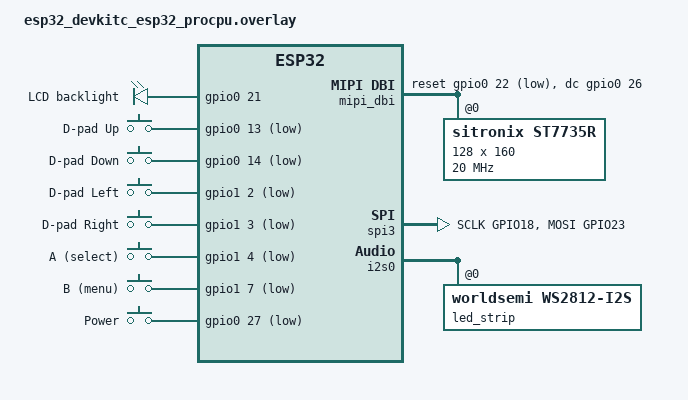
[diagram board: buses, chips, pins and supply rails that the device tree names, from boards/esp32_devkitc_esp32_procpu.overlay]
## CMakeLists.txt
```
# SPDX-License-Identifier: Apache-2.0

cmake_minimum_required(VERSION 3.28.0)

find_package(Zephyr REQUIRED HINTS $ENV{ZEPHYR_BASE})
project(KinBox)

FILE(GLOB app_sources
    src/*.c
    kindrals/*.c
    actions/*.c
    battle/*.c
    storage/*.c
    net/*.c
    ui/*.c
    sprites/*.c
)

target_sources(app PRIVATE ${app_sources})

# ESP32-S3 deep-sleep support missing from the Zephyr HAL source list
if(CONFIG_KINBOX_DEEP_SLEEP AND NOT CONFIG_PM AND NOT CONFIG_POWEROFF)
    set(ESP_IDF_COMPONENTS
        "${ZEPHYR_BASE}/../modules/hal/espressif/components"
    )

    target_sources(app PRIVATE
        ${ESP_IDF_COMPONENTS}/esp_hw_support/sleep_gpio.c
        ${ESP_IDF_COMPONENTS}/esp_hw_support/sleep_event.c
        ${ESP_IDF_COMPONENTS}/esp_hw_support/sleep_console.c
        ${ESP_IDF_COMPONENTS}/esp_hw_support/sleep_uart.c
        ${ESP_IDF_COMPONENTS}/esp_hw_support/clk_utils.c
        ${ESP_IDF_COMPONENTS}/esp_driver_gpio/src/gpio.c
        ${ESP_IDF_COMPONENTS}/esp_hw_support/sleep_modem.c
        ${ESP_IDF_COMPONENTS}/esp_hal_touch_sens/touch_sens_hal.c
        ${ESP_IDF_COMPONENTS}/esp_hal_touch_sens/esp32s3/touch_sensor_legacy_hal.c
        ${ESP_IDF_COMPONENTS}/esp_hw_support/lowpower/port/esp32s3/sleep_cpu.c
        ${ESP_IDF_COMPONENTS}/esp_hal_pmu/esp32s3/rtc_cntl_hal.c
    )
endif()

target_include_directories(app PRIVATE
    ${CMAKE_CURRENT_SOURCE_DIR}/includes
)
```

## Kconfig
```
# SPDX-License-Identifier: Apache-2.0

menu "KinBox"

config KINBOX_TICK_SECONDS
	int "Seconds between care ticks (hunger, thirst, ...)"
	default 5
	help
	  5 is a fast "demo" pace. A real handheld wants something like 60-300.

config KINBOX_SAVE_INTERVAL_S
	int "Seconds between routine saves to flash"
	default 300
	help
	  Only dirty data is written, and only after the first-time setup.
	  Important events (naming, battle end, trade, gift, power-off) save at once.

config KINBOX_OFFLINE_SECS_PER_TICK
	int "Offline catch-up: seconds of power-off that count as one care tick"
	default 600

config KINBOX_OFFLINE_MAX_TICKS
	int "Offline catch-up: maximum ticks applied on boot"
	default 48
	help
	  48 ticks x 10 min = at most 8 hours of "time passed" after a long power-off.

config KINBOX_FALLBACK_OFFLINE_SECS
	int "Without an RTC: assumed seconds spent powered off"
	default 0

config KINBOX_USE_DS3231
	bool "Read the time from a DS3231 RTC (I2C 0x68)"
	select I2C
	help
	  Also uncomment the i2c0 block in boards/esp32s3_devkitc_procpu.overlay.

config KINBOX_BLE_RSSI_NEAR
	int "Alert when another KinBox is stronger than this RSSI (dBm)"
	default -80
	range -100 -40
	help
	  Roughly: -60 = 1-2 m, -70 = ~5 m, -80 = ~10 m open air. Bodies and pockets
	  absorb 10-15 dB, so -80 is a reasonable "people passing on the street".

config KINBOX_BLE_SCAN_INTERVAL_MS
	int "BLE scan interval (ms)"
	default 800

config KINBOX_BLE_SCAN_WINDOW_MS
	int "BLE scan window (ms)"
	default 200
	help
	  window/interval = scan duty cycle (battery vs. how fast people are noticed).

config KINBOX_STEPS_SIM
	bool "Simulate steps (menu: Walk ON/off)"
	default y
	help
	  Turn off once a real pedometer is wired into steps_hw_total().

config KINBOX_SCREEN_TIMEOUT_S
	int "Screen off after this many idle seconds"
	default 30

config KINBOX_LONG_PRESS_MS
	int "Power key hold time for power-off (ms)"
	default 1500

config KINBOX_DEEP_SLEEP
	bool "Power-off = ESP32-S3 deep sleep, power key wakes it"
	default y
	help
	  If the ESP HAL headers are not available in your Zephyr tree, disable this
	  to get a "soft off" (screen off, BLE off, next key press reboots).

endmenu

source "Kconfig.zephyr"
```

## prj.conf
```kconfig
CONFIG_LOG=y
CONFIG_PRINTK=y

# ---- kept from the original project (WS2812 + flash size) ----
CONFIG_LED_STRIP=y
CONFIG_LED_STRIP_LOG_LEVEL_DBG=y
CONFIG_ESPTOOLPY_FLASHSIZE_16MB=y
CONFIG_ESPTOOLPY_HEADER_FLASHSIZE_UPDATE=y

# ---- randomness (hatching, battle seeds). The weak TEST generator is gone. ----
CONFIG_ENTROPY_GENERATOR=y

# ---- buttons (gpio-keys -> input subsystem) ----
CONFIG_GPIO=y
CONFIG_INPUT=y
CONFIG_INPUT_GPIO_KEYS=y

# ---- display: 1.8" ST7735 over SPI + LVGL ----
CONFIG_SPI=y
CONFIG_MIPI_DBI=y
CONFIG_DISPLAY=y
CONFIG_LVGL=y
CONFIG_LV_Z_MEM_POOL_SIZE=49152
CONFIG_LV_Z_VDB_SIZE=25
CONFIG_LV_FONT_UNSCII_8=y
CONFIG_LV_FONT_DEFAULT_UNSCII_8=y

# ---- storage: NVS on the storage partition ----
CONFIG_FLASH=y
CONFIG_FLASH_MAP=y
CONFIG_FLASH_PAGE_LAYOUT=y
CONFIG_NVS=y
CONFIG_REBOOT=y

# ---- BLE: advertise + scan at once, one connection ----
CONFIG_BT=y
CONFIG_BT_DEVICE_NAME="KinBox"
CONFIG_BT_PERIPHERAL=y
CONFIG_BT_CENTRAL=y
CONFIG_BT_OBSERVER=y
CONFIG_BT_BROADCASTER=y
CONFIG_BT_GATT_CLIENT=y
CONFIG_BT_MAX_CONN=1
CONFIG_BT_BUF_ACL_TX_COUNT=12

# ---- stacks ----
CONFIG_MAIN_STACK_SIZE=8192
CONFIG_HEAP_MEM_POOL_SIZE=29696
CONFIG_SYSTEM_WORKQUEUE_STACK_SIZE=2048
```

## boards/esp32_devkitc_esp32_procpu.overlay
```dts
/*
 * KinBox - ESP32-WROOM-32 / ESP32 DevKitC
 * Zephyr board: esp32_devkitc/esp32/procpu
 *
 * LCD: KMR-1.8 SPI TFT, 128x160
 * LED: WS2812 via I2S0
 * Buttons: active-low, connected to GND
 */

#include <zephyr/dt-bindings/led/led.h>
#include <zephyr/dt-bindings/gpio/gpio.h>
#include <zephyr/dt-bindings/input/input-event-codes.h>
#include <zephyr/dt-bindings/mipi_dbi/mipi_dbi.h>
#include <zephyr/dt-bindings/pinctrl/esp32-pinctrl.h>

/ {
    aliases {
        led-strip = &led_strip;
        lcd-backlight = &lcd_bl;
    };

    chosen {
        zephyr,display = &st7735r;
    };

    /*
     * LCD backlight control.
     * GPIO21 drives an external transistor circuit.
     */
    leds {
        compatible = "gpio-leds";

        lcd_bl: lcd_bl {
            gpios = <&gpio0 21 GPIO_ACTIVE_HIGH>;
            label = "LCD backlight";
        };
    };

    /*
     * KMR-1.8 SPI TFT
     *
     * SCL  -> GPIO18
     * SDA  -> GPIO23
     * CS   -> GPIO19
     * A0   -> GPIO26
     * RST  -> GPIO22
     */
    mipi_dbi {
        compatible = "zephyr,mipi-dbi-spi";
        spi-dev = <&spi3>;
        dc-gpios = <&gpio0 26 GPIO_ACTIVE_HIGH>;
        reset-gpios = <&gpio0 22 GPIO_ACTIVE_LOW>;
        write-only;

        #address-cells = <1>;
        #size-cells = <0>;

        st7735r: st7735r@0 {
            compatible = "sitronix,st7735r";
            reg = <0>;

            mipi-max-frequency = <20000000>;
            mipi-mode = "MIPI_DBI_MODE_SPI_4WIRE";

            width = <128>;
            height = <160>;
            x-offset = <0>;
            y-offset = <0>;

            madctl = <0x08>;
            colmod = <0x05>;

            caset = [00 00 00 7f];
            raset = [00 00 00 9f];

            vmctr1 = <0x0e>;
            invctr = <0x07>;

            pwctr1 = [a2 02 84];
            pwctr2 = [c5];
            pwctr3 = [0a 00];
            pwctr4 = [8a 2a];
            pwctr5 = [8a ee];

            frmctr1 = [01 2c 2d];
            frmctr2 = [01 2c 2d];
            frmctr3 = [01 2c 2d 01 2c 2d];

            gamctrp1 = [02 1c 07 12 37 32 29 2d 29 25 2b 39 00 01 03 10];
            gamctrn1 = [03 1d 07 06 2e 2c 29 2d 2e 2e 37 3f 00 00 02 10];
        };
    };

    /*
     * KinBox buttons.
     * All buttons connect between GPIO and GND.
     *
     * GPIO34/35/36/39 are input-only and require
     * external pull-up resistors (typically 10k to 3.3V).
     *
     * UP     GPIO13
     * DOWN   GPIO14
     * LEFT   GPIO34
     * RIGHT  GPIO35
     * A      GPIO36
     * B      GPIO39
     * POWER  GPIO27
     */
    buttons {
        compatible = "gpio-keys";
        debounce-interval-ms = <30>;

        btn_up: btn_up {
            label = "D-pad Up";
            gpios = <&gpio0 13 (GPIO_ACTIVE_LOW | GPIO_PULL_UP)>;
            zephyr,code = <INPUT_KEY_UP>;
        };

        btn_down: btn_down {
            label = "D-pad Down";
            gpios = <&gpio0 14 (GPIO_ACTIVE_LOW | GPIO_PULL_UP)>;
            zephyr,code = <INPUT_KEY_DOWN>;
        };

        btn_left: btn_left {
            label = "D-pad Left";
            gpios = <&gpio1 2 GPIO_ACTIVE_LOW>;
            zephyr,code = <INPUT_KEY_LEFT>;
        };

        btn_right: btn_right {
            label = "D-pad Right";
            gpios = <&gpio1 3 GPIO_ACTIVE_LOW>;
            zephyr,code = <INPUT_KEY_RIGHT>;
        };

        btn_a: btn_a {
            label = "A (select)";
            gpios = <&gpio1 4 GPIO_ACTIVE_LOW>;
            zephyr,code = <INPUT_KEY_ENTER>;
        };

        btn_b: btn_b {
            label = "B (menu)";
            gpios = <&gpio1 7 GPIO_ACTIVE_LOW>;
            zephyr,code = <INPUT_KEY_MENU>;
        };

        btn_power: btn_power {
            label = "Power";
            gpios = <&gpio0 27 (GPIO_ACTIVE_LOW | GPIO_PULL_UP)>;
            zephyr,code = <INPUT_KEY_POWER>;
        };
    };
};

/*
 * SPI3 for the LCD.
 * Hardware MISO is unused.
 * GPIO-based CS is GPIO19.
 */
&pinctrl {
    spim3_kinbox: spim3_kinbox {
        group1 {
            pinmux = <SPIM3_SCLK_GPIO18>,
                     <SPIM3_MOSI_GPIO23>;
        };
    };
};

/* SPI2 is not used by KinBox. */
&spi2 {
    status = "disabled";
};

&spi3 {
    status = "okay";

    pinctrl-0 = <&spim3_kinbox>;
    pinctrl-names = "default";

    cs-gpios = <&gpio0 19 GPIO_ACTIVE_LOW>;
};

/*
 * WS2812 LED strip via I2S0.
 * Uses the ESP32 DevKitC default I2S0 pins:
 * BCK GPIO32, WS GPIO33, DATA GPIO25.
 */
&i2s0 {
    status = "okay";

    led_strip: ws2812@0 {
        compatible = "worldsemi,ws2812-i2s";
        reg = <0>;
        chain-length = <1>;

        color-mapping = <LED_COLOR_ID_GREEN
                         LED_COLOR_ID_RED
                         LED_COLOR_ID_BLUE>;

        reset-delay = <500>;
    };
};
```

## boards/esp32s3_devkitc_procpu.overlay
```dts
/*
 * Copyright (c) 2024-2025 Espressif Systems (Shanghai) Co., Ltd.
 *
 * SPDX-License-Identifier: Apache-2.0
 */

#include <zephyr/dt-bindings/led/led.h>
#include <zephyr/dt-bindings/gpio/gpio.h>
#include <zephyr/dt-bindings/input/input-event-codes.h>
#include <zephyr/dt-bindings/mipi_dbi/mipi_dbi.h>

/ {
	aliases {
		led-strip = &led_strip;
		lcd-backlight = &lcd_bl;
	};

	chosen {
		zephyr,display = &st7735r;
	};

	/*
	 * 1.8" 128x160 ST7735 TFT (SPI). Wiring (ESP32-S3 DevKitC N16R8; GPIO 26-37 are
	 * taken by flash/octal PSRAM, 19/20 by USB, so these are all safe):
	 *
	 *   LCD  SCK -> GPIO12      LCD  CS  -> GPIO10     LCD  LED/BL -> GPIO15
	 *   LCD  SDA(MOSI) -> GPIO11  LCD DC (A0) -> GPIO13   LCD  RESET  -> GPIO14
	 *   LCD  VCC -> 3V3, GND -> GND  (no MISO needed: write-only)
	 *
	 * Power key (wake from deep sleep needs an RTC GPIO, 0-21): GPIO2 to GND.
	 */
	leds {
		compatible = "gpio-leds";
		lcd_bl: lcd_bl {
			gpios = <&gpio0 15 GPIO_ACTIVE_HIGH>;
			label = "LCD backlight";
		};
	};

	mipi_dbi {
		compatible = "zephyr,mipi-dbi-spi";
		spi-dev = <&spi2>;
		dc-gpios = <&gpio0 13 GPIO_ACTIVE_HIGH>;
		reset-gpios = <&gpio0 14 GPIO_ACTIVE_LOW>;
		write-only;
		#address-cells = <1>;
		#size-cells = <0>;

		st7735r: st7735r@0 {
			compatible = "sitronix,st7735r";
			reg = <0>;
			mipi-max-frequency = <20000000>;
			mipi-mode = "MIPI_DBI_MODE_SPI_4WIRE";
			width = <128>;
			height = <160>;
			x-offset = <0>;
			y-offset = <0>;
			/* If colours look wrong/inverted or the image is shifted, tune these
			 * for your panel's "tab" colour (black/green/red): madctl, x/y-offset,
			 * inversion-on, rgb-is-inverted. */
			madctl = <0x08>;
			colmod = <0x05>;
			caset = [00 00 00 7f];
			raset = [00 00 00 9f];
			vmctr1 = <0x0e>;
			invctr = <0x07>;
			pwctr1 = [a2 02 84];
			pwctr2 = [c5];
			pwctr3 = [0a 00];
			pwctr4 = [8a 2a];
			pwctr5 = [8a ee];
			frmctr1 = [01 2c 2d];
			frmctr2 = [01 2c 2d];
			frmctr3 = [01 2c 2d 01 2c 2d];
			gamctrp1 = [02 1c 07 12 37 32 29 2d 29 25 2b 39 00 01 03 10];
			gamctrn1 = [03 1d 07 06 2e 2c 29 2d 2e 2e 37 3f 00 00 02 10];
		};
	};

	/*
	 * KinBox buttons. Wire each button between the GPIO and GND;
	 * the internal pull-up is enabled, so a press reads as logic 0.
	 *
	 *   D-pad UP    -> GPIO4      A (select)    -> GPIO8
	 *   D-pad DOWN  -> GPIO5      B (open menu) -> GPIO9
	 *   D-pad LEFT  -> GPIO6
	 *   D-pad RIGHT -> GPIO7      POWER         -> GPIO2
	 */
	buttons {
		compatible = "gpio-keys";
		debounce-interval-ms = <30>;

		btn_up: btn_up {
			label = "D-pad Up";
			gpios = <&gpio0 4 (GPIO_ACTIVE_LOW | GPIO_PULL_UP)>;
			zephyr,code = <INPUT_KEY_UP>;
		};
		btn_down: btn_down {
			label = "D-pad Down";
			gpios = <&gpio0 5 (GPIO_ACTIVE_LOW | GPIO_PULL_UP)>;
			zephyr,code = <INPUT_KEY_DOWN>;
		};
		btn_left: btn_left {
			label = "D-pad Left";
			gpios = <&gpio0 6 (GPIO_ACTIVE_LOW | GPIO_PULL_UP)>;
			zephyr,code = <INPUT_KEY_LEFT>;
		};
		btn_right: btn_right {
			label = "D-pad Right";
			gpios = <&gpio0 7 (GPIO_ACTIVE_LOW | GPIO_PULL_UP)>;
			zephyr,code = <INPUT_KEY_RIGHT>;
		};
		btn_a: btn_a {
			label = "A (select)";
			gpios = <&gpio0 8 (GPIO_ACTIVE_LOW | GPIO_PULL_UP)>;
			zephyr,code = <INPUT_KEY_ENTER>;
		};
		btn_b: btn_b {
			label = "B (menu)";
			gpios = <&gpio0 9 (GPIO_ACTIVE_LOW | GPIO_PULL_UP)>;
			zephyr,code = <INPUT_KEY_MENU>;
		};
		btn_power: btn_power {
			label = "Power";
			gpios = <&gpio0 2 (GPIO_ACTIVE_LOW | GPIO_PULL_UP)>;
			zephyr,code = <INPUT_KEY_POWER>;
		};
	};
};

&i2s0_default {
	group1 {
		pinmux = <I2S0_O_SD_GPIO48>;
	};
};

i2s_led: &i2s0 {
	status = "okay";

	dmas = <&dma 3>;
	dma-names = "tx";

	led_strip: ws2812@0 {
		compatible = "worldsemi,ws2812-i2s";

		reg = <0>;
		chain-length = <1>;
		color-mapping = <LED_COLOR_ID_GREEN
				 LED_COLOR_ID_RED
				 LED_COLOR_ID_BLUE>;
		reset-delay = <500>;
	};
};

&dma {
	status = "okay";
};

/* SPI2 for the LCD: SCK 12, MOSI 11, software chip-select on GPIO10. */
&pinctrl {
	spim2_kinbox: spim2_kinbox {
		group1 {
			pinmux = <SPIM2_SCLK_GPIO12>, <SPIM2_MOSI_GPIO11>;
		};
	};
};

&spi2 {
	status = "okay";
	pinctrl-0 = <&spim2_kinbox>;
	pinctrl-names = "default";
	cs-gpios = <&gpio0 10 GPIO_ACTIVE_LOW>;
};

/*
 * DS3231 RTC (optional). To use it: uncomment this block and set
 * CONFIG_KINBOX_USE_DS3231=y.  Wiring: SDA -> GPIO16, SCL -> GPIO17, 3V3, GND.
 *
 * &pinctrl {
 *	i2c0_kinbox: i2c0_kinbox {
 *		group1 {
 *			pinmux = <I2C0_SDA_GPIO16>, <I2C0_SCL_GPIO17>;
 *			bias-pull-up;
 *			drive-open-drain;
 *			output-high;
 *		};
 *	};
 * };
 *
 * &i2c0 {
 *	status = "okay";
 *	clock-frequency = <I2C_BITRATE_STANDARD>;
 *	pinctrl-0 = <&i2c0_kinbox>;
 *	pinctrl-names = "default";
 * };
 */

&flash0 {
    reg = <0x0 DT_SIZE_M(16)>;
    ranges = <0x0 0x0 DT_SIZE_M(16)>;
};

/*
 * NVS needs a "storage_partition" (>= 2 sectors of 4 KB; 24 KB = 6 sectors is plenty).
 * Check that your board already defines one:
 *     grep -n storage_partition build/zephyr/zephyr.dts
 * If it doesn't, define one in a free area (offsets below assume nothing else lives
 * past 0x800000; adjust to your partition layout):
 *
 * &flash0 {
 *	partitions {
 *		storage_partition: partition@f00000 {
 *			label = "storage";
 *			reg = <0xf00000 DT_SIZE_K(24)>;
 *		};
 *	};
 * };
 */
```

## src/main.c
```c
/*
 * KinBox - Tamagotchi x Pokemon handheld (ESP32-S3 / Zephyr)
 *
 * One thread owns the UI and all game state. Everything else (buttons, BLE,
 * power key) only posts events to the queue (see app_event.h).
 */
#include <errno.h>
#include <string.h>

#include <zephyr/kernel.h>
#include <zephyr/logging/log.h>
#include <zephyr/random/random.h>
#include <zephyr/sys/reboot.h>

#include "game.h"
#include "app_event.h"
#include "buttons.h"
#include "kclock.h"
#include "net.h"
#include "power.h"
#include "social.h"
#include "steps.h"
#include "storage.h"
#include "ui.h"
#include "walk.h"
#include "items.h"

LOG_MODULE_REGISTER(kinbox, LOG_LEVEL_INF);

game_t g_game;

static walk_state walk;
static bool soft_off;
static uint8_t advertised_level = 0xFF;

static uint32_t rnd(void)
{
    return sys_rand32_get();
}

static void sync_profile(void)
{
    if (g_game.setup_done && advertised_level != g_game.kin.stats.level) {
        advertised_level = (uint8_t)g_game.kin.stats.level;
        net_set_profile(g_game.trainer, (uint8_t)g_game.kin.id.species, advertised_level);
    }
}

static void every_second(int64_t now_ms)
{
    static int tick_s;

    net_housekeeping();

    if (g_game.setup_done && !g_game.in_event) {
        /* care tick */
        if (++tick_s >= CONFIG_KINBOX_TICK_SECONDS) {
            tick_s = 0;
            kindrals_tick(&g_game.kin);
            storage_mark_dirty(SAVE_KIN);
        }

        /* steps -> walk sessions -> item finds */
        uint32_t steps = steps_take_new();

        g_game.steps_total += steps;
        uint8_t found = walk_feed(&walk, steps, now_ms, rnd);

        if (found != ITEM_NONE) {
            const item_def *it = items_get(found);

            if (inv_add(&g_game.inv, found, 1) == 0) {
                storage_mark_dirty(SAVE_INV);
                ui_toast("%s found a %s while walking!", g_game.kin.id.name, it->name);
            } else {
                ui_toast("%s found a %s but your bag is full.", g_game.kin.id.name, it->name);
            }
        }
        if (steps) {
            storage_mark_dirty(SAVE_KIN);
        }
    }

    sync_profile();
    storage_poll(now_ms);
    ui_second();
}

static void dispatch(const app_event *e)
{
    if (soft_off) {                         /* only used when deep sleep is disabled */
        if (e->type == EVT_SCREEN_TOGGLE || e->type == EVT_POWER_OFF) {
            sys_reboot(SYS_REBOOT_COLD);
        }
        return;
    }

    switch (e->type) {
    case EVT_BTN:
        if (!ui_screen_is_on()) {           /* first press only wakes the screen */
            ui_screen_power(true);
            ui_activity();
            break;
        }
        ui_activity();
        ui_handle_btn((enum button)e->btn);
        break;

    case EVT_POWER_OFF:
        power_off();
        soft_off = true;                    /* only reached without deep sleep */
        break;

    case EVT_SCREEN_TOGGLE:
        ui_screen_power(!ui_screen_is_on());
        ui_activity();
        break;

    case EVT_NET_PEER_NEAR:
        ui_peer_near(e);
        break;

    case EVT_NET_LINK_UP:
    case EVT_NET_LINK_DOWN:
    case EVT_NET_CONNECT_FAIL:
    case EVT_NET_RX:
        social_handle_event(e);             /* 1. update state            */
        ui_handle_event(e);                 /* 2. let the active scene react */
        ui_process_social();                /* 3. toasts, launches, link loss */
        break;
    }
}

int main(void)
{
    int rc;

    LOG_INF("KinBox starting");

    if (storage_init() != 0) {
        LOG_ERR("Storage unavailable - running without saving!");
    }

    /* Factory-reset combo: hold A + B while powering on for 3 seconds. */
    if (buttons_a_and_b_held()) {
        k_sleep(K_SECONDS(3));
        if (buttons_a_and_b_held()) {
            storage_factory_reset();
        }
    }

    g_game.visible = true;
    rc = storage_load(&g_game);
    kclock_init(rc == 0 ? g_game.last_unix : 0);

    power_init();
    ui_init();
    steps_init();
    walk_init(&walk);
    social_init();
    if (net_init() != 0) {
        LOG_ERR("BLE unavailable - social features disabled");
    }

    if (rc == 0) {
        int64_t gap = kclock_now() - g_game.last_unix;

        kindrals_catch_up(&g_game.kin, gap, CONFIG_KINBOX_OFFLINE_SECS_PER_TICK,
                          CONFIG_KINBOX_OFFLINE_MAX_TICKS);
        LOG_INF("Loaded %s Lv%d (offline %lld s)", g_game.kin.id.name, g_game.kin.stats.level,
                (long long)gap);
        net_set_profile(g_game.trainer, (uint8_t)g_game.kin.id.species,
                        (uint8_t)g_game.kin.stats.level);
        advertised_level = (uint8_t)g_game.kin.stats.level;
        net_set_visible(g_game.visible);
        ui_start_home();
    } else {
        if (rc != -ENOENT) {
            LOG_WRN("Save unreadable (%d): starting fresh", rc);
        }
        memset(&g_game.kin, 0, sizeof(g_game.kin));
        g_game.setup_done = false;      /* nothing is saved until setup finishes */
        net_set_profile("", 0, 0);
        ui_start_setup();
    }

    int64_t next_second = k_uptime_get() + 1000;

    for (;;) {
        app_event e;

        if (app_wait(&e, K_MSEC(20)) == 0) {
            dispatch(&e);
        }
        int64_t now = k_uptime_get();

        if (now >= next_second) {
            next_second += 1000;
            if (!soft_off) {
                every_second(now);
            }
        }
        ui_run();
    }
    return 0;
}
```
